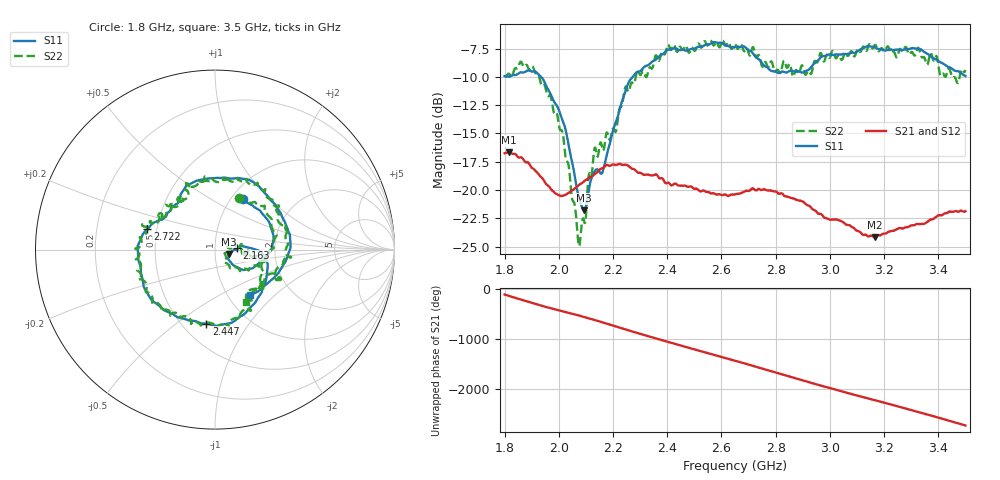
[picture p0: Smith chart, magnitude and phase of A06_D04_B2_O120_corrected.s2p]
! Created with skrf 1.9.0 (http://scikit-rf.org).
# Hz S RI R 50.0
!freq ReS11 ImS11 ReS21 ImS21 ReS12 ImS12 ReS22 ImS22
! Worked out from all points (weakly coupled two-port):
!   1601 points, 1.8 GHz to 3.5 GHz, reference 50 ohm
!   highest |S21| = -16.66 dB at 1.817 GHz (marker M1); lowest = -24.2 dB at 3.165 GHz (marker M2)
!   lowest |S11| = -21.8 dB at 2.093 GHz (marker M3), VSWR 1.18, Z = 58.3 - j2.94 ohm
!   |S11| at or under -10 dB: 1.935 GHz to 2.273 GHz (338.2 MHz wide, 16.1 % of centre)
!   |S22| runs from -25.0 to -6.8 dB; largest |S21 - S12| = 0.0024
!   S11 on the Smith chart (normalised r, x): 1.8 GHz: 1.13, +0.70; 2.163 GHz: 1.28, +0.02; 2.447 GHz: 0.65, -0.65; 2.722 GHz: 0.44, +0.12; 3.5 GHz: 1.26, -0.71
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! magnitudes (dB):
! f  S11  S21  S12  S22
! 1.8 GHz  -9.9  -16.7  -16.7  -9.9
! 1.817 GHz  -10.0  -16.7  -16.7  -9.7
! 1.903 GHz  -9.5  -18.1  -18.1  -9.1
! 1.968 GHz  -11.4  -19.8  -19.9  -11.6
! 2.015 GHz  -13.9  -20.5  -20.5  -15.0
! 2.072 GHz  -20.5  -19.6  -19.6  -24.7
! 2.084 GHz  -21.4  -19.4  -19.4  -23.2
! 2.093 GHz  -21.8  -19.2  -19.3  -22.7
! 2.131 GHz  -18.4  -18.6  -18.6  -16.3
! 2.163 GHz  -18.3  -18.0  -18.0  -16.5
! 2.258 GHz  -10.5  -17.9  -17.9  -11.3
! 2.367 GHz  -8.2  -18.8  -18.8  -8.5
! 2.447 GHz  -7.6  -19.6  -19.6  -7.3
! 2.65 GHz  -7.4  -20.4  -20.3  -7.1
! 2.722 GHz  -8.1  -20.0  -19.9  -7.8
! 2.808 GHz  -9.6  -20.3  -20.2  -9.4
! 2.934 GHz  -9.0  -21.7  -21.6  -9.5
! 3.165 GHz  -7.4  -24.2  -24.1  -7.2
! 3.217 GHz  -7.6  -23.7  -23.7  -7.4
! 3.376 GHz  -8.3  -22.6  -22.6  -8.0
! 3.468 GHz  -9.5  -21.9  -21.8  -10.4
! 3.5 GHz  -9.9  -21.9  -21.8  -9.4
